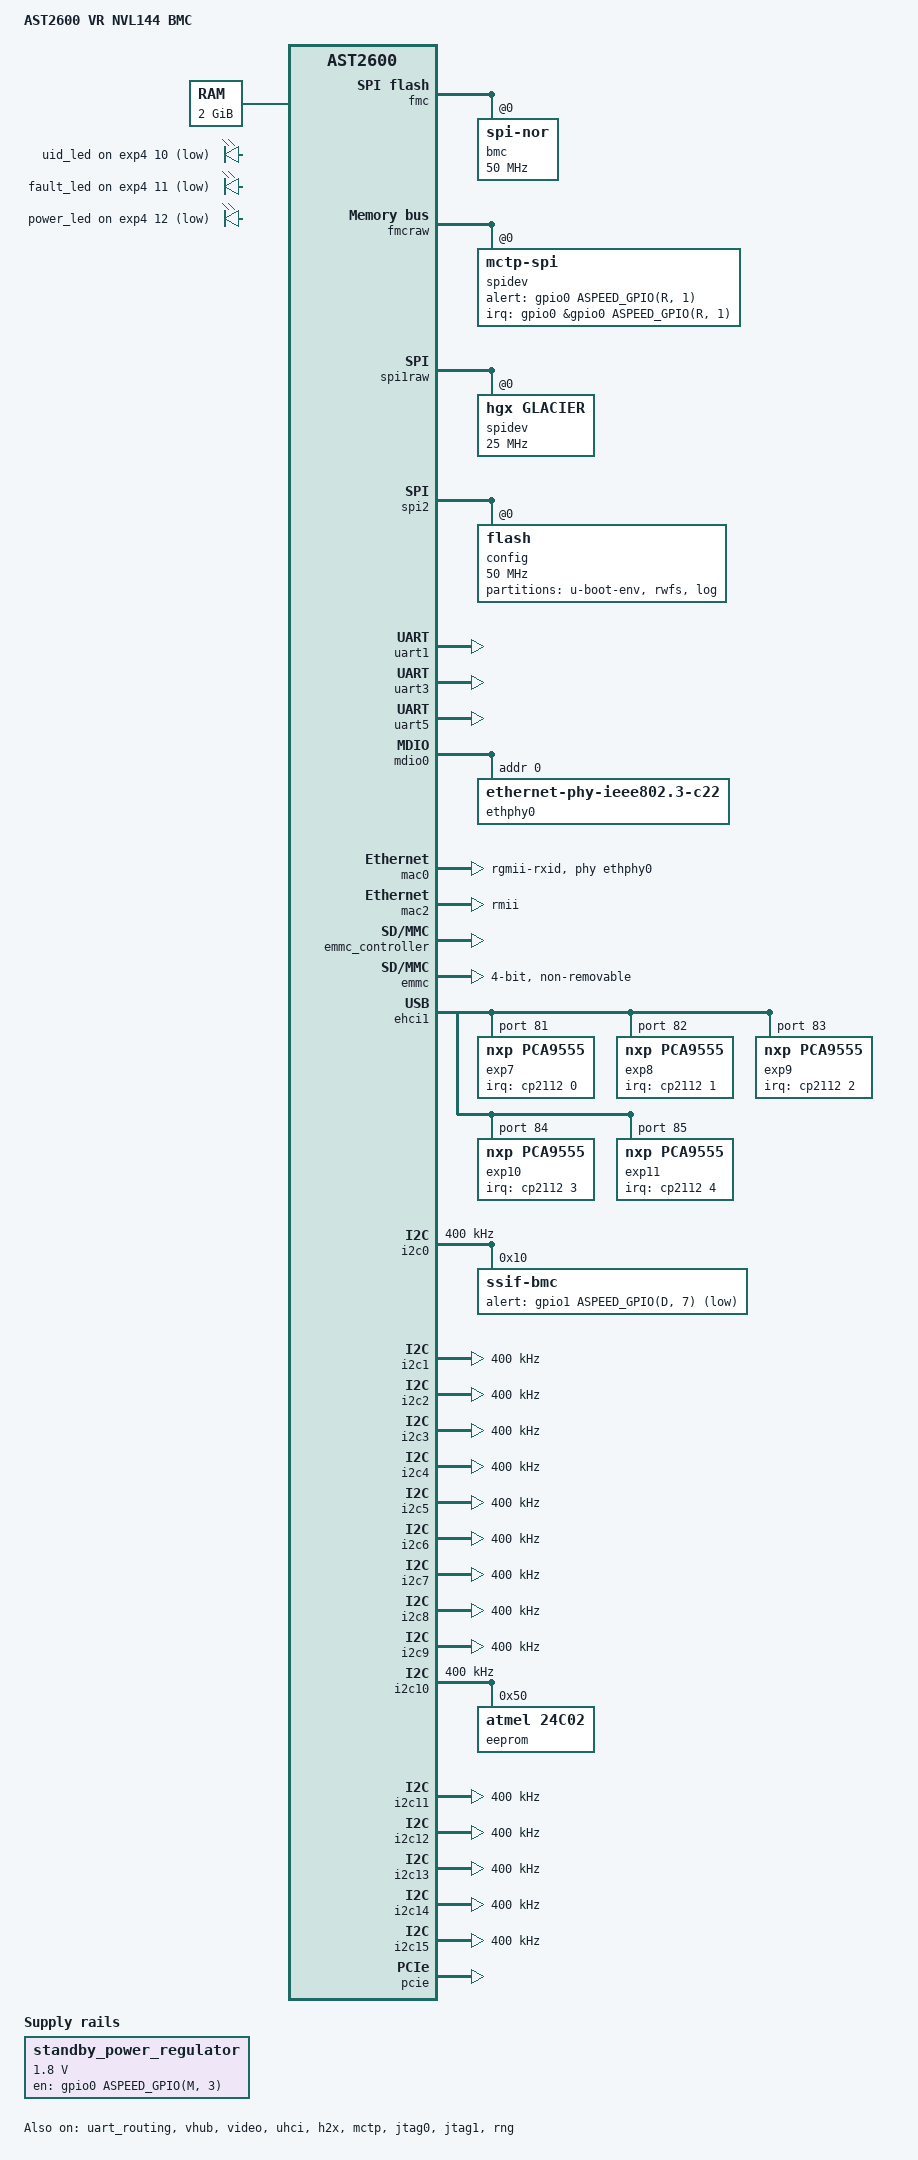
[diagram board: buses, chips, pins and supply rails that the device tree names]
// SPDX-License-Identifier: GPL-2.0+
/dts-v1/;

#include "nvidia-vr-bmc-nvl144-core.dtsi"
#include <dt-bindings/leds/common.h>

/ {
    model = "AST2600 VR NVL144 BMC";
    compatible = "aspeed,ast2600";

	aliases {
		serial2 = &uart3;
		serial4 = &uart5;
		i2c70	= &i2c70;
	};

	chosen {
		stdout-path = &uart5;
		bootargs = "console=tty0 console=ttyS4,115200n8 earlyprintk";
	};

	memory@80000000 {
		device_type = "memory";
		reg = <0x80000000 0x80000000>;
	};

	reserved-memory {
		#address-cells = <1>;
		#size-cells = <1>;
		ranges;

		vga_memory: framebuffer@9f000000 {
			no-map;
			reg = <0x9f000000 0x01000000>; /* 16M */
		};


		ramoops@a0000000 {
			compatible = "ramoops";
			reg = <0xa0000000 0x100000>; /* 1MB */
			record-size = <0x10000>; /* 64KB */
			max-reason = <2>; /* KMSG_DUMP_OOPS */
		};

		gfx_memory: framebuffer {
			size = <0x01000000>;
			alignment = <0x01000000>;
			compatible = "shared-dma-pool";
			reusable;
		};

		video_engine_memory: jpegbuffer {
			size = <0x02000000>;	/* 32M */
			alignment = <0x01000000>;
			compatible = "shared-dma-pool";
			reusable;
		};
	};

    power-gpios{
        n2-gpios = <&gpio0 ASPEED_GPIO(N, 2) (GPIO_ACTIVE_HIGH|GPIO_PULL_UP)>;
        n3-gpios = <&gpio0 ASPEED_GPIO(N, 3) (GPIO_ACTIVE_HIGH|GPIO_PULL_UP)>;
    };

    leds {
        compatible = "gpio-leds";
        uid_led {
                gpios = <&exp4 10 GPIO_ACTIVE_LOW>;
        };
        fault_led {
                gpios = <&exp4 11 GPIO_ACTIVE_LOW>;
        };
        power_led {
                gpios = <&exp4 12 GPIO_ACTIVE_LOW>;
        };
    };

    buttons {
        power-btn {
            gpio = <&exp4 9 GPIO_ACTIVE_LOW>;
        };
        uid-btn {
            gpio = <&exp4 11 GPIO_ACTIVE_LOW>;
        };
    };

    standby_power_regulator: standby-power-regulator {
		status = "okay";
		compatible = "regulator-fixed";
		regulator-name = "standby_power";
		gpio = <&gpio0 ASPEED_GPIO(M, 3) GPIO_ACTIVE_HIGH>;
		regulator-min-microvolt = <1800000>;
		regulator-max-microvolt = <1800000>;
		enable-active-high;
		regulator-always-on;
	};
};

// Enabled Primary flash on FMC for bring up activity
&fmc {
    status = "okay";
    flash@0 {
        status = "okay";
        compatible = "jedec,spi-nor";
        label = "bmc";
        spi-max-frequency = <50000000>;
#include "aspeed-bmc-nvidia-gh-flash-layout-64.dtsi"
    };
};

&fmcraw {
    status = "okay";
    spidev@0 {
        compatible = "mctp-spi";
        alert-gpio = <&gpio0 ASPEED_GPIO(R, 1) GPIO_ACTIVE_HIGH>;
        interrupt-parent = <&gpio0>;
        interrupts = <&gpio0 ASPEED_GPIO(R, 1) GPIO_ACTIVE_HIGH>;
        status = "okay";
    };
};

&spi1raw {
    status = "okay";
    pinctrl-names = "default";
    pinctrl-0 = <&pinctrl_spi1_default>;
    spidev@0 {
        spi-max-frequency = <25000000>;
        compatible = "hgx,glacier";
        status = "okay";
    };
};

&spi2 {
    status = "okay";
    pinctrl-names = "default";
    pinctrl-0 = <&pinctrl_spi2_default>;

    // Data SPI is 64MB in size
    flash@0 {
        status = "okay";
        label = "config";
        spi-max-frequency = <50000000>;
        partitions {
            compatible = "fixed-partitions";
            #address-cells = <1>;
            #size-cells = <1>;

            u-boot-env@0 {
                reg = <0x0 0x40000>;            // 256KB at offset 0
                label = "u-boot-env";
            };

            rwfs@40000 {
                reg = <0x40000 0x1000000>;      // 16MB at offset 0x40000
                label = "rwfs";
            };

            log@0x1040000 {
                reg = <0x1040000 0x2800000>;    // 40MB at offset 0x1040000
                label = "log";                  // Move log to EMMC, make this unused
            };
        };
    };
};

&uart1 {
        status = "okay";
};

&uart3 {
        //Enabling SOL
        status = "okay";

};

&uart5 {
    // BMC Debug Console
    status = "okay";
};

&uart_routing {
       status = "okay";
};

// MAC1 (per schematics, 1-based MAC1-MAC4) of AST2600 connected to external PHY
// This is "mac0" in zero-based DTS
&mdio0 {
    status = "okay";
    ethphy0: ethernet-phy@0 {
        compatible = "ethernet-phy-ieee802.3-c22";
        reg = <0>;
    };

};

&mac0 {
    status = "okay";
    pinctrl-names = "default";
    phy-mode = "rgmii-rxid";
    max-speed = <1000>;
    phy-handle = <&ethphy0>;
    pinctrl-0 = <&pinctrl_rgmii1_default>;
};

&mac2 {
    status = "okay";
    phy-mode = "rmii";
    use-ncsi;
    pinctrl-names = "default";
    pinctrl-0 = <&pinctrl_rmii3_default>;
};


// Enable emmc
&emmc_controller {
    status = "okay";
};

&emmc {
    non-removable;
    pinctrl-0 = <&pinctrl_emmcg5_default>;
    bus-width = <4>;
    max-frequency = <52000000>;
    clk-phase-mmc-hs200 = <9>, <225>;
};

/*
 * Enable USB port A as device (via the virtual hub) to host
 */
&vhub {
    status = "okay";
    pinctrl-names = "default";
    /*
        Uncomment below line to enable internal EHCI controller
        Current config uses xHCI Port1
    */
    // pinctrl-0 = <&pinctrl_usb2adp_default>;
};

&video {
	status = "okay";
	memory-region = <&video_engine_memory>;
};

// USB 2.0 to HMC, on USB Port B
&ehci1 {
    status = "okay";

    hub@1 {
        reg = <1>;
        hub@2 {
            reg = <2>;
            hub@1 {
                reg = <1>;
                device@1 {
                    reg = <1>;
                    cp2112: interface@1 {
                        reg = <1 1>;

                        gpio-controller;
                        interrupt-controller;
                        #gpio-cells = <2>;
                        #interrupt-cells = <2>;

                        i2c70: i2c {
                            #address-cells = <1>;
                            #size-cells = <0>;

                            exp7: pca9555@51 {
                                compatible = "nxp,pca9555";
                                reg = <0x51>;
                                gpio-controller;
                                #gpio-cells = <2>;

                                #address-cells = <1>;
                                #size-cells = <0>;
                                interrupt-controller;
                                #interrupt-cells = <2>;
                                interrupt-parent = <&cp2112>;
                                interrupts = <0 IRQ_TYPE_LEVEL_LOW>;

                                gpio-line-names =
                                    "C0_UPHY0_PRSNT0_L",
                                    "C0_UPHY0_PRSNT2_L",
                                    "C0_UPHY2_PRSNT0_L",
                                    "C0_UPHY2_PRSNT2_L",
                                    "C0_UPHY3_PRSNT0_L",
                                    "C0_UPHY3_PRSNT1_L",
                                    "CPLD_PSEQ_FAULT",
                                    "CPLD_READY",
                                    "BMC_IOX_INT_L",
                                    "RUN_PWR_EN",
                                    "PRIMARY_NODE_L",
                                    "C0_WAKE_L",
                                    "MCU_RECOVERY_L",
                                    "GLOBAL_WP",
                                    "MCU_USER_STRAP",
                                    "JTAG_TDO_MCU";
                            };
                            exp8: pca9555@52 {
                                compatible = "nxp,pca9555";
                                reg = <0x52>;
                                gpio-controller;
                                #gpio-cells = <2>;

                                #address-cells = <1>;
                                #size-cells = <0>;
                                interrupt-controller;
                                #interrupt-cells = <2>;
                                interrupt-parent = <&cp2112>;
                                interrupts = <1 IRQ_TYPE_LEVEL_LOW>;

                                gpio-line-names =
                                    "C0_5V_SOCAMM_PGOOD",
                                    "DDR_VDDQ_PGOOD",
                                    "C2CVDD_PGOOD",
                                    "VDD_1V8_PGOOD",
                                    "MCU_12V_HSCC_PGOOD",
                                    "VDD_3V3_PGOOD",
                                    "MODULE_PWR_GOOD",
                                    "C0_ALL_SOCAMM_PGOOD",
                                    "CPU0_OVERT_L",
                                    "C0_THERM_WARN_N",
                                    "GPU_THERM_WARN_N",
                                    "MCU_THERM_WARN_N",
                                    "C0_SOC_THERM_OVERT_N",
                                    "MCU_THERM_OVERT_N",
                                    "CPU0_IROT_RECOVERY_L_3V3",
                                    "CPU0_IROT_FATAL_ERR_L_3V3";
                            };
                            exp9: pca9555@53 {
                                compatible = "nxp,pca9555";
                                reg = <0x53>;
                                gpio-controller;
                                #gpio-cells = <2>;

                                #address-cells = <1>;
                                #size-cells = <0>;
                                interrupt-controller;
                                #interrupt-cells = <2>;
                                interrupt-parent = <&cp2112>;
                                interrupts = <2 IRQ_TYPE_LEVEL_LOW>;

                                gpio-line-names =
                                    "JTAG_SEL_MCU",
                                    "JTAG_TCK_MCU",
                                    "JTAG_TMS_MCU",
                                    "JTAG_TDI_MCU",
                                    "JTAG_TRST_L_MCU",
                                    "JTAG_BYPASS_GPU1",
                                    "JTAG_BYPASS_CPU0_C_DIE",
                                    "JTAG_BYPASS_CPU0_S_DIE",
                                    "JTAG_BYPASS_GPU2",
                                    "CPU0_OOB_CS1_L",
                                    "CPU0_OOB_CS0_L",
                                    "OOB_MUX_CTRL1",
                                    "OOB_MUX_CTRL0",
                                    "MCU_BMC_ALERT_L",
                                    "MCU_HMC_ALERT_L",
                                    "HPM_MCU_OK";
                            };
                            exp10: pca9555@54 {
                                compatible = "nxp,pca9555";
                                reg = <0x54>;
                                gpio-controller;
                                #gpio-cells = <2>;

                                #address-cells = <1>;
                                #size-cells = <0>;
                                interrupt-controller;
                                #interrupt-cells = <2>;
                                interrupt-parent = <&cp2112>;
                                interrupts = <3 IRQ_TYPE_LEVEL_LOW>;

                                gpio-line-names =
                                    "C0_SOCAMM_0_ID_PRSNT_N",
                                    "C0_SOCAMM_1_ID_PRSNT_N",
                                    "C0_SOCAMM_2_ID_PRSNT_N",
                                    "C0_SOCAMM_3_ID_PRSNT_N",
                                    "C0_SOCAMM_4_ID_PRSNT_N",
                                    "C0_SOCAMM_5_ID_PRSNT_N",
                                    "C0_SOCAMM_6_ID_PRSNT_N",
                                    "C0_SOCAMM_7_ID_PRSNT_N",
                                    "",
                                    "",
                                    "",
                                    "",
                                    "",
                                    "",
                                    "",
                                    "";
                            };
                            exp11: pca9555@55 {
                                compatible = "nxp,pca9555";
                                reg = <0x55>;
                                gpio-controller;
                                #gpio-cells = <2>;

                                #address-cells = <1>;
                                #size-cells = <0>;
                                interrupt-controller;
                                #interrupt-cells = <2>;
                                interrupt-parent = <&cp2112>;
                                interrupts = <4 IRQ_TYPE_LEVEL_LOW>;

                                gpio-line-names =
                                    "SLOT_PWR_BRAKE_EN_L",
                                    "CPLD_RESET_L",
                                    "LEAK_SELF_TEST_L",
                                    "CPLD_PROGRAM",
                                    "MCU_HEARTBEAT",
                                    "TRAY_FAST_SHDN_L",
                                    "LEAK_DETECT_L",
                                    "",
                                    "",
                                    "",
                                    "",
                                    "",
                                    "",
                                    "",
                                    "",
                                    "";
                            };
                        };
                    };
                };
            };
        };
    };
};

// USB 1.0
&uhci {
   status = "okay";
};

// I2C1, SSIF IPMI interface
&i2c0 {
    status = "okay";
    clock-frequency = <400000>;
    disable-master = <1>;
    i2c-scl-clk-low-timeout-us = <32000>;
    i2c-tck-thddat-config = <0x0099EC00>;
    ssif-bmc@10 {
        compatible = "ssif-bmc";
        alert-gpio = <&gpio1 ASPEED_GPIO(D, 7) GPIO_ACTIVE_LOW>;
        pulse_width_us = <5>;
        timeout_ms = <4995>;
        reg = <0x10>;
        };

};

// I2C2
// BMC_I2C1_FPGA - Secondary FPGA
// HMC EROT
&i2c1 {
    status = "okay";
    clock-frequency = <400000>;
    i2c-scl-clk-low-timeout-us = <32000>;
    i2c-tck-thddat-config = <0x0099EC00>;
};

// I2C3
// BMC_I2C0_FPGA - Primary FPGA
// HMC FRU EEPROM
&i2c2 {
    status = "okay";
    clock-frequency = <400000>;
    i2c-scl-clk-low-timeout-us = <32000>;
    i2c-tck-thddat-config = <0x0099EC00>;
};

// I2C4
&i2c3 {
    status = "ok";
    clock-frequency = <400000>;
};

// I2C5
// RTC Driver
// IO Expander
&i2c4 {
    status = "okay";
    clock-frequency = <400000>;
    i2c-tck-thddat-config = <0x0099EC00>;
};

// I2C6
// Module 0/1 I2C MUX x3
&i2c5 {
    status = "okay";
    clock-frequency = <400000>;
    i2c-scl-clk-low-timeout-us = <32000>;
    i2c-tck-thddat-config = <0x0099EC00>;
};

// I2C7
// Module 0/1 Leak Sensors
// Module 0/1 Fan Controllers
&i2c6 {
    status = "okay";
    clock-frequency = <400000>;
    i2c-tck-thddat-config = <0x0099EC00>;
};

// I2C8
&i2c7 {
    status = "okay";
    clock-frequency = <400000>;
};

// I2C9
// M.2
&i2c8 {
    status = "okay";
    clock-frequency = <400000>;
    i2c-scl-clk-low-timeout-us = <32000>;
    i2c-tck-thddat-config = <0x0099EC00>;
};

// I2C10
// HMC IO Expander
// Module 0/1 IO Expanders
&i2c9 {
    status = "okay";
    clock-frequency = <400000>;
    i2c-tck-thddat-config = <0x0099EC00>;
};

// I2C11
// BMC FRU EEPROM
// BMC Temp Sensor
&i2c10 {
    status = "okay";
    clock-frequency = <400000>;
    i2c-tck-thddat-config = <0x0099EC00>;
    // BMC FRU EEPROM - 256 bytes
    eeprom@50 {
        compatible = "atmel,24c02";
        reg = <0x50>;
        pagesize = <8>;
    };
};

// I2C12
&i2c11 {
    status = "ok";
    clock-frequency = <400000>;
};

// I2C13
&i2c12 {
    status = "ok";
    clock-frequency = <400000>;
};

// I2C14
// Module 0 UPHY3 SMBus
&i2c13 {
    status = "ok";
    clock-frequency = <400000>;
};

// I2C15
// Module 1 UPHY3 SMBus
&i2c14 {
    status = "okay";
    clock-frequency = <400000>;
};

// I2C16
&i2c15 {
    status = "okay";
    clock-frequency = <400000>;
};

// PCIe RC
&pcie {
    status = "okay";

    interrupts = <GIC_SPI 168 IRQ_TYPE_LEVEL_HIGH>;

    pcie_intc0: legacy-interrupt-controller {
                    interrupts = <GIC_SPI 168 IRQ_TYPE_EDGE_RISING>;
    };
};

// Bridge between AHB bus and PCIe RC.
&h2x {
    status = "okay";
};

&mctp {
    status = "okay";
};

&jtag0 {
    status = "okay";
};

&jtag1 {
    status = "okay";
};

&rng {
    status = "okay";
};

